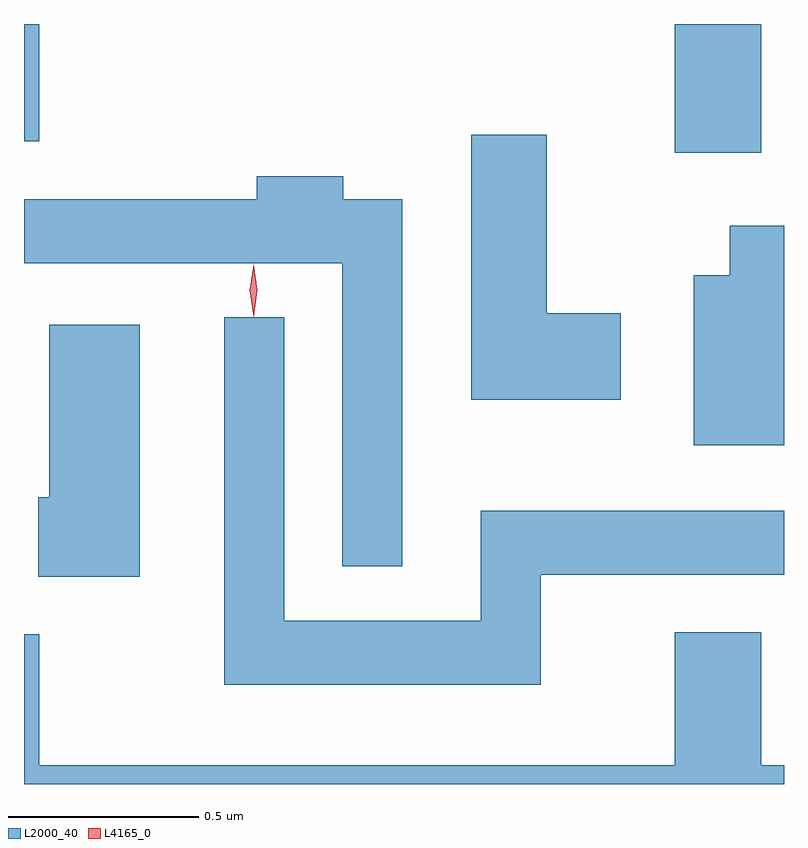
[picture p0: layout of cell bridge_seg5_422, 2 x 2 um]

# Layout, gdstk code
import gdstk
lib = gdstk.Library(unit=1e-6, precision=1e-09)
def R(c, l, rs):  # rectangles x0, y0, x1, y1
    for r in rs: c.add(gdstk.rectangle(r[:2], r[2:], *l))
def P(c, l, *ps):  # polygons
    for p in ps: c.add(gdstk.Polygon(p, *l))
L2000_40 = (2000, 40)
L4165_0 = (4165, 0)

bridge_seg5_422 = lib.new_cell('bridge_seg5_422')
R(bridge_seg5_422, L2000_40, [(483.341,1489.756,483.569,1490.095), (481.629,1489.786,481.669,1490.095)])
P(bridge_seg5_422, L2000_40, [(483.199,1489.334),(483.004,1489.334),(483.004,1489.804),(482.806,1489.804),(482.806,1489.106),(483.199,1489.106)],
  [(482.624,1489.634),(482.469,1489.634),(482.469,1489.694),(482.241,1489.694),(482.241,1489.634),(481.629,1489.634),(481.629,1489.466),(482.466,1489.466),(482.466,1488.668),(482.624,1488.668)],
  [(483.629,1489.564),(483.486,1489.564),(483.486,1489.434),(483.391,1489.434),(483.391,1488.986),(483.629,1488.986)],
  [(482.989,1488.646),(483.629,1488.646),(483.629,1488.814),(482.831,1488.814),(482.831,1488.524),(482.314,1488.524),(482.314,1489.323),(482.156,1489.323),(482.156,1488.356),(482.989,1488.356)],
  [(481.934,1489.304),(481.696,1489.304),(481.696,1488.849),(481.666,1488.849),(481.666,1488.641),(481.934,1488.641)],
  [(483.629,1488.144),(483.569,1488.144),(483.569,1488.494),(483.341,1488.494),(483.341,1488.144),(481.669,1488.144),(481.669,1488.489),(481.629,1488.489),(481.629,1488.095),(483.629,1488.095)])
P(bridge_seg5_422, L4165_0, [(482.233,1489.324),(482.233,1489.324),(482.223,1489.394),(482.233,1489.462),(482.233,1489.463),(482.234,1489.462),(482.243,1489.394),(482.234,1489.324)],
  [(482.233,1489.327),(482.233,1489.328),(482.223,1489.394),(482.233,1489.46),(482.233,1489.46),(482.234,1489.46),(482.243,1489.394),(482.234,1489.328)])

lib.write_gds('bridge_seg5_422.gds')
